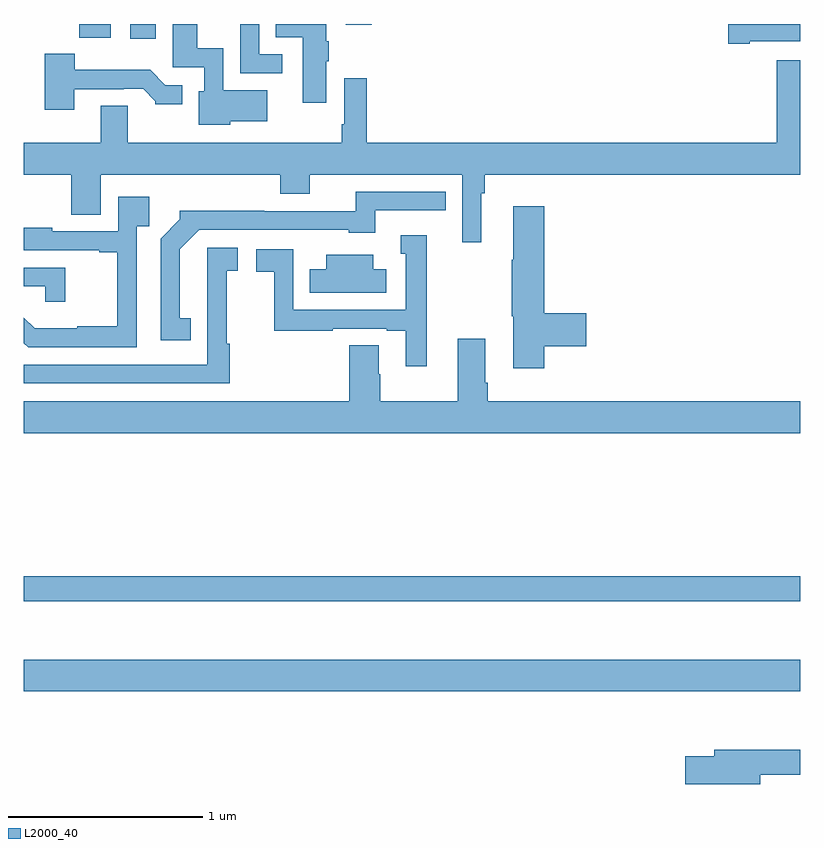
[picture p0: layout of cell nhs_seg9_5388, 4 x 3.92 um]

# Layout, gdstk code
import gdstk
lib = gdstk.Library(unit=1e-6, precision=1e-09)
def R(c, l, rs):  # rectangles x0, y0, x1, y1
    for r in rs: c.add(gdstk.rectangle(r[:2], r[2:], *l))
def P(c, l, *ps):  # polygons
    for p in ps: c.add(gdstk.Polygon(p, *l))
L2000_40 = (2000, 40)

nhs_seg9_5388 = lib.new_cell('nhs_seg9_5388')
R(nhs_seg9_5388, L2000_40, [(423,1223.06,427,1223.224), (423,1223.526,427,1223.654), (423.548,1226.424,423.679,1226.5), (423.286,1226.429,423.448,1226.5), (424.658,1226.496,424.793,1226.5)])
P(nhs_seg9_5388, L2000_40, [(426.742,1226.411),(427,1226.411),(427,1226.5),(426.63,1226.5),(426.63,1226.399),(426.742,1226.399)],
  [(424.062,1226),(424.255,1226),(424.255,1226.158),(424.026,1226.158),(424.026,1226.374),(423.892,1226.374),(423.892,1226.5),(423.767,1226.5),(423.767,1226.277),(423.93,1226.277),(423.93,1226.154),(423.902,1226.154),(423.902,1225.982),(424.062,1225.982)],
  [(424.558,1226.308),(424.571,1226.308),(424.571,1226.411),(424.558,1226.411),(424.558,1226.5),(424.297,1226.5),(424.297,1226.432),(424.436,1226.432),(424.436,1226.094),(424.558,1226.094)],
  [(424.33,1226.343),(424.212,1226.343),(424.212,1226.5),(424.116,1226.5),(424.116,1226.247),(424.33,1226.247)],
  [(423.259,1226.163),(423.515,1226.163),(423.515,1226.166),(423.614,1226.166),(423.678,1226.102),(423.678,1226.087),(423.817,1226.087),(423.817,1226.184),(423.729,1226.184),(423.651,1226.263),(423.262,1226.263),(423.262,1226.347),(423.107,1226.347),(423.107,1226.058),(423.259,1226.058)],
  [(427,1226.314),(426.881,1226.314),(426.881,1225.888),(424.766,1225.888),(424.766,1226.221),(424.65,1226.221),(424.65,1225.984),(424.638,1225.984),(424.638,1225.888),(423.535,1225.888),(423.535,1226.078),(423.395,1226.078),(423.395,1225.888),(423,1225.888),(423,1225.724),(423.245,1225.724),(423.245,1225.516),(423.397,1225.516),(423.397,1225.724),(424.322,1225.724),(424.322,1225.625),(424.474,1225.625),(424.474,1225.724),(425.259,1225.724),(425.259,1225.374),(425.356,1225.374),(425.356,1225.628),(425.375,1225.628),(425.375,1225.724),(427,1225.724)],
  [(423.86,1224.983),(423.802,1224.983),(423.802,1225.339),(423.903,1225.44),(424.674,1225.44),(424.674,1225.424),(424.81,1225.424),(424.81,1225.539),(425.174,1225.539),(425.174,1225.635),(424.711,1225.635),(424.711,1225.536),(424.238,1225.536),(424.238,1225.538),(423.804,1225.538),(423.804,1225.493),(423.705,1225.394),(423.705,1224.87),(423.86,1224.87)],
  [(423.582,1225.457),(423.647,1225.457),(423.647,1225.609),(423.486,1225.609),(423.486,1225.431),(423.145,1225.431),(423.145,1225.45),(423,1225.45),(423,1225.335),(423.389,1225.335),(423.389,1225.323),(423.481,1225.323),(423.481,1224.943),(423.275,1224.943),(423.275,1224.931),(423.056,1224.931),(423,1224.987),(423,1224.855),(423.021,1224.834),(423.582,1224.834)],
  [(425.681,1224.839),(425.899,1224.839),(425.899,1225.01),(425.681,1225.01),(425.681,1225.561),(425.522,1225.561),(425.522,1225.286),(425.515,1225.286),(425.515,1224.993),(425.522,1224.993),(425.522,1224.726),(425.681,1224.726)],
  [(425.077,1225.411),(424.943,1225.411),(424.943,1225.317),(424.968,1225.317),(424.968,1225.026),(424.389,1225.026),(424.389,1225.338),(424.197,1225.338),(424.197,1225.222),(424.291,1225.222),(424.291,1224.918),(424.592,1224.918),(424.592,1224.93),(424.871,1224.93),(424.871,1224.918),(424.967,1224.918),(424.967,1224.735),(425.077,1224.735)],
  [(424.061,1224.851),(424.044,1224.851),(424.044,1225.227),(424.102,1225.227),(424.102,1225.348),(423.944,1225.348),(423.944,1225.072),(423.945,1225.072),(423.945,1224.744),(423,1224.744),(423,1224.648),(424.061,1224.648)],
  [(424.867,1225.237),(424.801,1225.237),(424.801,1225.312),(424.559,1225.312),(424.559,1225.237),(424.474,1225.237),(424.474,1225.115),(424.867,1225.115)],
  [(423.212,1225.245),(423,1225.245),(423,1225.149),(423.111,1225.149),(423.111,1225.068),(423.212,1225.068)],
  [(427,1224.556),(425.39,1224.556),(425.39,1224.652),(425.377,1224.652),(425.377,1224.877),(425.237,1224.877),(425.237,1224.556),(424.836,1224.556),(424.836,1224.695),(424.828,1224.695),(424.828,1224.845),(424.676,1224.845),(424.676,1224.556),(423,1224.556),(423,1224.392),(427,1224.392)],
  [(426.796,1222.63),(427,1222.63),(427,1222.759),(426.557,1222.759),(426.557,1222.725),(426.408,1222.725),(426.408,1222.583),(426.796,1222.583)])

lib.write_gds('nhs_seg9_5388.gds')
